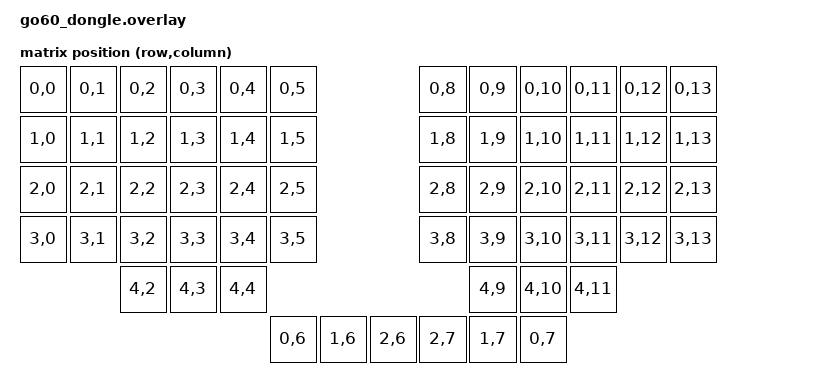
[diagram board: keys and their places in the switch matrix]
/*
 * Go60 DONGLE central shield (runs on a Seeed XIAO nRF52840).
 *
 * The dongle is a ZMK split *central* with no keys of its own (mock kscan).
 * It carries the stock Go60 combined 14-column matrix transform so that key
 * positions forwarded by the two peripheral halves land in the right place
 * (each half already offsets its own columns: LH cols 0-6, RH cols 7-13).
 *
 * Both Cirque trackpads are forwarded from the halves over the split link as
 * `zmk,input-split` streams. Routing is by `reg` value ONLY, so the two halves
 * must use distinct regs:
 *     RH trackpad -> reg 0   (stock go60_rh already forwards at reg 0)
 *     LH trackpad -> reg 1   (set by the go60_lh_peripheral shield)
 * The dongle defines one proxy input-split per reg, each feeding a listener.
 */

#include <dt-bindings/zmk/matrix_transform.h>

/ {
    chosen {
        zmk,kscan = &mock_kscan;
        zmk,physical-layout = &physical_layout0;
    };

    mock_kscan: mock_kscan_0 {
        compatible = "zmk,kscan-mock";
        columns = <0>;
        rows = <0>;
        events = <0>;
    };

    matrix_transform0: keymap_transform_0 {
        compatible = "zmk,matrix-transform";
        columns = <14>;
        rows = <4>;
        map = <
            RC(0,0) RC(0,1) RC(0,2) RC(0,3) RC(0,4) RC(0,5)                                   RC(0,8) RC(0,9) RC(0,10) RC(0,11) RC(0,12) RC(0,13)
            RC(1,0) RC(1,1) RC(1,2) RC(1,3) RC(1,4) RC(1,5)                                   RC(1,8) RC(1,9) RC(1,10) RC(1,11) RC(1,12) RC(1,13)
            RC(2,0) RC(2,1) RC(2,2) RC(2,3) RC(2,4) RC(2,5)                                   RC(2,8) RC(2,9) RC(2,10) RC(2,11) RC(2,12) RC(2,13)
            RC(3,0) RC(3,1) RC(3,2) RC(3,3) RC(3,4) RC(3,5)                                   RC(3,8) RC(3,9) RC(3,10) RC(3,11) RC(3,12) RC(3,13)
                            RC(4,2) RC(4,3) RC(4,4)                                                   RC(4,9) RC(4,10) RC(4,11)
                                                    RC(0,6) RC(1,6) RC(2,6)   RC(2,7) RC(1,7) RC(0,7)
        >;
    };

    physical_layout0: physical_layout_0 {
        compatible = "zmk,physical-layout";
        display-name = "Go60";
        transform = <&matrix_transform0>;
    };

    /*
     * Central-side proxies for the two forwarded trackpads. These have no
     * `device` (there is no local Cirque on the dongle); the split central
     * routes incoming peripheral input events to them by matching `reg`.
     */
    inputs {
        #address-cells = <1>;
        #size-cells = <0>;

        cirque_rh_split: cirque_rh_split@0 {
            compatible = "zmk,input-split";
            reg = <0>;
        };

        cirque_lh_split: cirque_lh_split@1 {
            compatible = "zmk,input-split";
            reg = <1>;
        };
    };

    /* Listeners turn the proxied input into HID pointer events on the host. */
    cirque_rh_listener: cirque_rh_listener {
        compatible = "zmk,input-listener";
        device = <&cirque_rh_split>;
    };

    cirque_lh_listener: cirque_lh_listener {
        compatible = "zmk,input-listener";
        device = <&cirque_lh_split>;
    };

    /*
     * XIAO nRF52840 board config, folded in from the stock
     * app/boards/seeeduino_xiao_ble.overlay. That loose board overlay is
     * removed by the CI build step because MoErgo's `-DBOARD_ROOT=.` otherwise
     * discovers it twice and ninja errors ("defined as an output multiple
     * times"). Applying it here (once) keeps battery + external flash working.
     */
    chosen {
        zmk,battery = &vbatt;
    };

    vbatt: vbatt {
        compatible = "zmk,battery-voltage-divider";
        io-channels = <&adc 7>;
        power-gpios = <&gpio0 14 (GPIO_OPEN_DRAIN | GPIO_ACTIVE_LOW)>;
        output-ohms = <510000>;
        full-ohms = <(1000000 + 510000)>;
    };
};

&xiao_serial { status = "disabled"; };

&adc {
    status = "okay";
};

&qspi {
    status = "okay";
    pinctrl-0 = <&qspi_default>;
    pinctrl-1 = <&qspi_sleep>;
    pinctrl-names = "default", "sleep";
    p25q16h: p25q16h@0 {
        compatible = "nordic,qspi-nor";
        reg = <0>;
        sck-frequency = <104000000>;
        quad-enable-requirements = "S2B1v1";
        jedec-id = [85 60 15];
        sfdp-bfp = [
            e5 20 f1 ff  ff ff ff 00  44 eb 08 6b  08 3b 80 bb
            ee ff ff ff  ff ff 00 ff  ff ff 00 ff  0c 20 0f 52
            10 d8 08 81
        ];
        size = <16777216>;
        has-dpd;
        t-enter-dpd = <3000>;
        t-exit-dpd = <8000>;
    };
};
